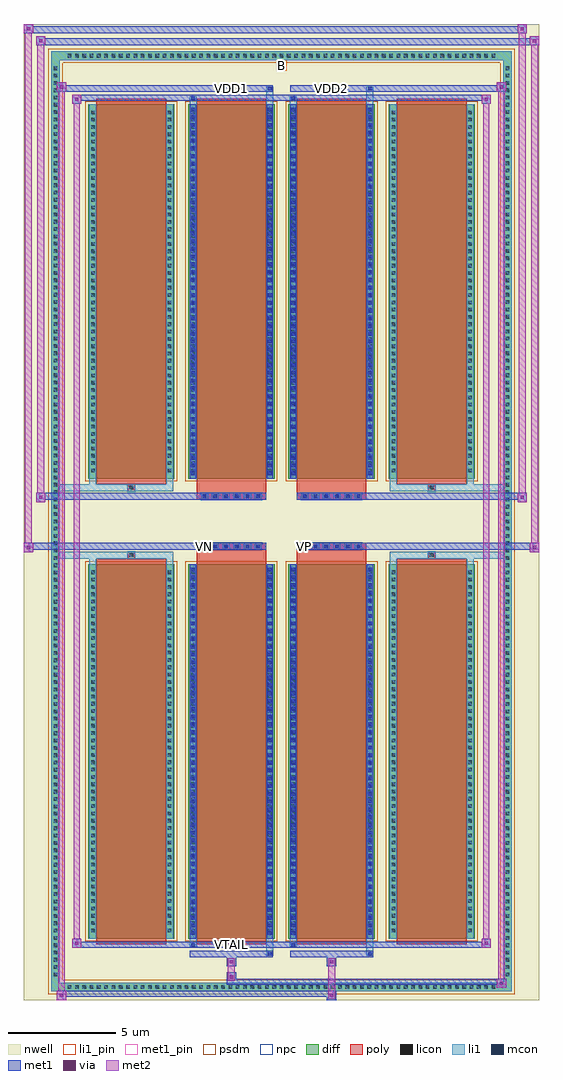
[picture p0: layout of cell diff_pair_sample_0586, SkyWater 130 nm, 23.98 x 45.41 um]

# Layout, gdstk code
import gdstk
lib = gdstk.Library(unit=1e-6, precision=5e-09)
def R(c, l, rs):  # rectangles x0, y0, x1, y1
    for r in rs: c.add(gdstk.rectangle(r[:2], r[2:], *l))
def A(c, l, x, y, w, h, nx, ny, dx, dy):  # array of equal rectangles
    R(c, l, [(x+i*dx, y+j*dy, x+i*dx+w, y+j*dy+h) for i in range(nx) for j in range(ny)])
def P(c, l, *ps):  # polygons
    for p in ps: c.add(gdstk.Polygon(p, *l))
nwell = (64, 20)
diff = (65, 20)
poly = (66, 20)
licon = (66, 44)
li1_pin = (67, 16)
li1 = (67, 20)
mcon = (67, 44)
met1_pin = (68, 16)
met1 = (68, 20)
via = (68, 44)
met2 = (69, 20)
psdm = (94, 20)
npc = (95, 20)

diff_pair_sample_0586 = lib.new_cell('diff_pair_sample_0586')
R(diff_pair_sample_0586, nwell, [(-11.99,-22.27,11.99,23.14), (-9.31,-20.46,-0.01,-0.8), (0.01,-20.46,9.31,-0.8), (-9.31,0.8,-0.01,20.46), (0.01,0.8,9.31,20.46)])
A(diff_pair_sample_0586, diff, -10.065, -21.87, 0.41, 0.41, 59, 2, 0.34, 43.33)
A(diff_pair_sample_0586, diff, -10.72, -21.285, 0.41, 0.41, 1, 125, 0, 0.34)
A(diff_pair_sample_0586, diff, 10.31, -21.285, 0.41, 0.41, 1, 125, 0, 0.34)
A(diff_pair_sample_0586, diff, -9, -19.415, 4.02, 17.43, 4, 2, 4.66, 21.4)
R(diff_pair_sample_0586, diff, [(-10.065,-21.87,10.065,-21.46), (-10.72,-21.285,-10.31,21.285), (10.31,-21.285,10.72,21.285), (-10.065,21.46,10.065,21.87)])
P(diff_pair_sample_0586, diff, [(10.72,21.87),(-10.72,21.87),(-10.72,-21.46),(-10.31,-21.46),(-10.31,21.46),(10.31,21.46),(10.31,-21.46),(-10.31,-21.46),(-10.72,-21.46),(-10.72,-21.87),(10.72,-21.87)])
A(diff_pair_sample_0586, poly, -8.61, -19.665, 3.24, 17.93, 4, 2, 4.66, 21.4)
A(diff_pair_sample_0586, poly, -3.745, -1.33, 0.33, 0.33, 6, 2, 0.5, 2.33)
A(diff_pair_sample_0586, poly, 0.915, -1.33, 0.33, 0.33, 6, 2, 0.5, 2.33)
R(diff_pair_sample_0586, poly, [(-7.155,-1.735,-6.825,-1.405), (-7.155,-1.735,-6.825,-1.405), (-3.95,-1.735,-0.71,-1.33), (0.71,-1.735,3.95,-1.33), (6.825,-1.735,7.155,-1.405), (6.825,-1.735,7.155,-1.405), (-3.95,-1.33,-0.71,-1), (0.71,-1.33,3.95,-1), (-3.95,1,-0.71,1.33), (0.71,1,3.95,1.33), (-3.95,1.33,-0.71,1.735), (0.71,1.33,3.95,1.735), (-7.155,1.405,-6.825,1.735), (-7.155,1.405,-6.825,1.735), (6.825,1.405,7.155,1.735), (6.825,1.405,7.155,1.735)])
A(diff_pair_sample_0586, licon, -9.945, -21.75, 0.17, 0.17, 59, 2, 0.34, 43.33)
A(diff_pair_sample_0586, licon, -10.6, -21.165, 0.17, 0.17, 1, 125, 0, 0.34)
A(diff_pair_sample_0586, licon, 10.43, -21.165, 0.17, 0.17, 1, 125, 0, 0.34)
A(diff_pair_sample_0586, licon, -8.86, -19.115, 0.17, 0.17, 1, 50, 0, 0.34)
A(diff_pair_sample_0586, licon, -5.29, -19.115, 0.17, 0.17, 1, 50, 0, 0.34)
A(diff_pair_sample_0586, licon, -4.2, -19.115, 0.17, 0.17, 1, 50, 0, 0.34)
A(diff_pair_sample_0586, licon, -0.63, -19.115, 0.17, 0.17, 1, 50, 0, 0.34)
A(diff_pair_sample_0586, licon, 0.46, -19.115, 0.17, 0.17, 1, 50, 0, 0.34)
A(diff_pair_sample_0586, licon, 4.03, -19.115, 0.17, 0.17, 1, 50, 0, 0.34)
A(diff_pair_sample_0586, licon, 5.12, -19.115, 0.17, 0.17, 1, 50, 0, 0.34)
A(diff_pair_sample_0586, licon, 8.69, -19.115, 0.17, 0.17, 1, 50, 0, 0.34)
A(diff_pair_sample_0586, licon, -3.665, -1.25, 0.17, 0.17, 6, 2, 0.5, 2.33)
A(diff_pair_sample_0586, licon, 0.995, -1.25, 0.17, 0.17, 6, 2, 0.5, 2.33)
A(diff_pair_sample_0586, licon, -8.86, 2.285, 0.17, 0.17, 1, 50, 0, 0.34)
A(diff_pair_sample_0586, licon, -5.29, 2.285, 0.17, 0.17, 1, 50, 0, 0.34)
A(diff_pair_sample_0586, licon, -4.2, 2.285, 0.17, 0.17, 1, 50, 0, 0.34)
A(diff_pair_sample_0586, licon, -0.63, 2.285, 0.17, 0.17, 1, 50, 0, 0.34)
A(diff_pair_sample_0586, licon, 0.46, 2.285, 0.17, 0.17, 1, 50, 0, 0.34)
A(diff_pair_sample_0586, licon, 4.03, 2.285, 0.17, 0.17, 1, 50, 0, 0.34)
A(diff_pair_sample_0586, licon, 5.12, 2.285, 0.17, 0.17, 1, 50, 0, 0.34)
A(diff_pair_sample_0586, licon, 8.69, 2.285, 0.17, 0.17, 1, 50, 0, 0.34)
R(diff_pair_sample_0586, licon, [(-7.075,-1.655,-6.905,-1.485), (6.905,-1.655,7.075,-1.485), (-7.075,1.485,-6.905,1.655), (6.905,1.485,7.075,1.655)])
R(diff_pair_sample_0586, li1_pin, [(-0.25,20.96,0.25,21.46)])
A(diff_pair_sample_0586, li1, -10.025, -21.83, 0.33, 0.33, 59, 2, 0.34, 43.33)
A(diff_pair_sample_0586, li1, -10.68, -21.245, 0.33, 0.33, 1, 125, 0, 0.34)
A(diff_pair_sample_0586, li1, 10.35, -21.245, 0.33, 0.33, 1, 125, 0, 0.34)
A(diff_pair_sample_0586, li1, -4.2, -19.245, 0.17, 0.17, 1, 48, 0, 0.36)
A(diff_pair_sample_0586, li1, -0.63, -19.245, 0.17, 0.17, 1, 48, 0, 0.36)
A(diff_pair_sample_0586, li1, 0.46, -19.245, 0.17, 0.17, 1, 48, 0, 0.36)
A(diff_pair_sample_0586, li1, 4.03, -19.245, 0.17, 0.17, 1, 48, 0, 0.36)
A(diff_pair_sample_0586, li1, -8.94, -19.195, 0.33, 0.33, 1, 50, 0, 0.34)
A(diff_pair_sample_0586, li1, -5.37, -19.195, 0.33, 0.33, 1, 50, 0, 0.34)
A(diff_pair_sample_0586, li1, -4.28, -19.195, 0.33, 0.33, 1, 50, 0, 0.34)
A(diff_pair_sample_0586, li1, -0.71, -19.195, 0.33, 0.33, 1, 50, 0, 0.34)
A(diff_pair_sample_0586, li1, 0.38, -19.195, 0.33, 0.33, 1, 50, 0, 0.34)
A(diff_pair_sample_0586, li1, 3.95, -19.195, 0.33, 0.33, 1, 50, 0, 0.34)
A(diff_pair_sample_0586, li1, 5.04, -19.195, 0.33, 0.33, 1, 50, 0, 0.34)
A(diff_pair_sample_0586, li1, 8.61, -19.195, 0.33, 0.33, 1, 50, 0, 0.34)
A(diff_pair_sample_0586, li1, -3.745, -1.33, 0.33, 0.33, 6, 2, 0.5, 2.33)
A(diff_pair_sample_0586, li1, 0.915, -1.33, 0.33, 0.33, 6, 2, 0.5, 2.33)
A(diff_pair_sample_0586, li1, -4.2, 2.155, 0.17, 0.17, 1, 48, 0, 0.36)
A(diff_pair_sample_0586, li1, -0.63, 2.155, 0.17, 0.17, 1, 48, 0, 0.36)
A(diff_pair_sample_0586, li1, 0.46, 2.155, 0.17, 0.17, 1, 48, 0, 0.36)
A(diff_pair_sample_0586, li1, 4.03, 2.155, 0.17, 0.17, 1, 48, 0, 0.36)
A(diff_pair_sample_0586, li1, -8.94, 2.205, 0.33, 0.33, 1, 50, 0, 0.34)
A(diff_pair_sample_0586, li1, -5.37, 2.205, 0.33, 0.33, 1, 50, 0, 0.34)
A(diff_pair_sample_0586, li1, -4.28, 2.205, 0.33, 0.33, 1, 50, 0, 0.34)
A(diff_pair_sample_0586, li1, -0.71, 2.205, 0.33, 0.33, 1, 50, 0, 0.34)
A(diff_pair_sample_0586, li1, 0.38, 2.205, 0.33, 0.33, 1, 50, 0, 0.34)
A(diff_pair_sample_0586, li1, 3.95, 2.205, 0.33, 0.33, 1, 50, 0, 0.34)
A(diff_pair_sample_0586, li1, 5.04, 2.205, 0.33, 0.33, 1, 50, 0, 0.34)
A(diff_pair_sample_0586, li1, 8.61, 2.205, 0.33, 0.33, 1, 50, 0, 0.34)
R(diff_pair_sample_0586, li1, [(-10.72,-21.87,-10.31,-21.46), (-10.72,-21.87,-10.31,-21.46), (-10.31,-21.87,10.31,-21.46), (10.31,-21.87,10.72,-21.46), (10.31,-21.87,10.72,-21.46), (-10.72,-21.46,-10.31,21.46), (10.31,-21.46,10.72,21.46), (-0.71,-20.22,-0.38,-19.415), (-0.63,-20.22,-0.46,-20.05), (3.95,-20.22,4.28,-19.415), (4.03,-20.22,4.2,-20.05), (-4.28,-19.79,-3.95,-19.415), (-4.2,-19.79,-4.03,-19.62), (0.38,-19.79,0.71,-19.415), (0.46,-19.79,0.63,-19.62), (-8.94,-19.415,-8.61,-1.985), (-5.37,-19.415,-5.04,-1.985), (-4.28,-19.415,-3.95,-1.985), (-0.71,-19.415,-0.38,-1.985), (0.38,-19.415,0.71,-1.985), (3.95,-19.415,4.28,-1.985), (5.04,-19.415,5.37,-1.985), (8.61,-19.415,8.94,-1.985), (-4.2,-19.245,-4.03,-2.155), (-0.63,-19.245,-0.46,-2.155), (0.46,-19.245,0.63,-2.155), (4.03,-19.245,4.2,-2.155), (-8.94,-1.985,-8.61,-1.405), (-5.37,-1.985,-5.04,-1.405), (5.04,-1.985,5.37,-1.405), (8.61,-1.985,8.94,-1.405), (-10.72,-1.735,-7.155,-1.405), (-8.94,-1.735,-7.155,-1.405), (-7.155,-1.735,-6.825,-1.405), (-6.825,-1.735,-5.04,-1.405), (5.04,-1.735,6.825,-1.405), (6.825,-1.735,7.155,-1.405), (6.825,-1.735,10.72,-1.405), (7.155,-1.735,8.94,-1.405), (-10.72,1.405,-7.155,1.735), (-8.94,1.405,-7.155,1.735), (-8.94,1.405,-8.61,1.985), (-7.155,1.405,-6.825,1.735), (-6.825,1.405,-5.04,1.735), (-5.37,1.405,-5.04,1.985), (5.04,1.405,6.825,1.735), (5.04,1.405,5.37,1.985), (6.825,1.405,7.155,1.735), (6.825,1.405,10.72,1.735), (7.155,1.405,8.94,1.735), (8.61,1.405,8.94,1.985), (-8.94,1.985,-8.61,19.415), (-5.37,1.985,-5.04,19.415), (-4.28,1.985,-3.95,19.415), (-0.71,1.985,-0.38,19.415), (0.38,1.985,0.71,19.415), (3.95,1.985,4.28,19.415), (5.04,1.985,5.37,19.415), (8.61,1.985,8.94,19.415), (-4.2,2.155,-4.03,19.245), (-0.63,2.155,-0.46,19.245), (0.46,2.155,0.63,19.245), (4.03,2.155,4.2,19.245), (-4.28,19.415,-3.95,19.79), (-0.71,19.415,-0.38,20.22), (0.38,19.415,0.71,19.79), (3.95,19.415,4.28,20.22), (-4.2,19.62,-4.03,19.79), (0.46,19.62,0.63,19.79), (-0.63,20.05,-0.46,20.22), (4.03,20.05,4.2,20.22), (-10.72,21.46,-10.31,21.87), (-10.72,21.46,-10.31,21.87), (-10.31,21.46,10.31,21.87), (10.31,21.46,10.72,21.87), (10.31,21.46,10.72,21.87)])
A(diff_pair_sample_0586, mcon, -4.2, -19.245, 0.17, 0.17, 1, 48, 0, 0.36)
A(diff_pair_sample_0586, mcon, -0.63, -19.245, 0.17, 0.17, 1, 48, 0, 0.36)
A(diff_pair_sample_0586, mcon, 0.46, -19.245, 0.17, 0.17, 1, 48, 0, 0.36)
A(diff_pair_sample_0586, mcon, 4.03, -19.245, 0.17, 0.17, 1, 48, 0, 0.36)
A(diff_pair_sample_0586, mcon, -3.665, -1.25, 0.17, 0.17, 6, 2, 0.5, 2.33)
A(diff_pair_sample_0586, mcon, 0.995, -1.25, 0.17, 0.17, 6, 2, 0.5, 2.33)
A(diff_pair_sample_0586, mcon, -4.2, 2.155, 0.17, 0.17, 1, 48, 0, 0.36)
A(diff_pair_sample_0586, mcon, -0.63, 2.155, 0.17, 0.17, 1, 48, 0, 0.36)
A(diff_pair_sample_0586, mcon, 0.46, 2.155, 0.17, 0.17, 1, 48, 0, 0.36)
A(diff_pair_sample_0586, mcon, 4.03, 2.155, 0.17, 0.17, 1, 48, 0, 0.36)
R(diff_pair_sample_0586, mcon, [(-0.63,-20.22,-0.46,-20.05), (4.03,-20.22,4.2,-20.05), (-4.2,-19.79,-4.03,-19.62), (0.46,-19.79,0.63,-19.62), (-4.2,19.62,-4.03,19.79), (0.46,19.62,0.63,19.79), (-0.63,20.05,-0.46,20.22), (4.03,20.05,4.2,20.22)])
R(diff_pair_sample_0586, met1_pin, [(-2.465,-19.83,-2.195,-19.56), (-3.715,-1.29,-3.445,-1.02), (0.945,-1.29,1.215,-1.02), (-2.465,20.01,-2.195,20.28), (2.195,20.01,2.465,20.28)])
A(diff_pair_sample_0586, met1, -4.26, -19.305, 0.29, 0.29, 1, 48, 0, 0.36)
A(diff_pair_sample_0586, met1, -0.69, -19.305, 0.29, 0.29, 1, 48, 0, 0.36)
A(diff_pair_sample_0586, met1, 0.4, -19.305, 0.29, 0.29, 1, 48, 0, 0.36)
A(diff_pair_sample_0586, met1, 3.97, -19.305, 0.29, 0.29, 1, 48, 0, 0.36)
A(diff_pair_sample_0586, met1, -3.725, -1.31, 0.29, 0.29, 6, 2, 0.5, 2.33)
A(diff_pair_sample_0586, met1, 0.935, -1.31, 0.29, 0.29, 6, 2, 0.5, 2.33)
A(diff_pair_sample_0586, met1, -4.26, 2.095, 0.29, 0.29, 1, 48, 0, 0.36)
A(diff_pair_sample_0586, met1, -0.69, 2.095, 0.29, 0.29, 1, 48, 0, 0.36)
A(diff_pair_sample_0586, met1, 0.4, 2.095, 0.29, 0.29, 1, 48, 0, 0.36)
A(diff_pair_sample_0586, met1, 3.97, 2.095, 0.29, 0.29, 1, 48, 0, 0.36)
R(diff_pair_sample_0586, met1, [(-10.45,-22.27,-10.02,-21.84), (2.115,-22.27,2.545,-21.84), (-10.45,-22.13,2.545,-21.84), (10.02,-21.7,10.45,-21.27), (-2.545,-21.56,10.45,-21.27), (-2.545,-21.42,-2.115,-20.99), (-2.545,-20.71,-2.115,-20.28), (2.115,-20.71,2.545,-20.28), (-4.26,-20.28,-0.4,-19.99), (-0.69,-20.28,-0.4,-19.99), (0.4,-20.28,4.26,-19.99), (3.97,-20.28,4.26,-19.99), (-9.74,-19.85,-9.31,-19.42), (-9.74,-19.85,-4.26,-19.56), (-4.26,-19.85,-3.97,-19.56), (-4.26,-19.85,-0.4,-19.56), (-0.4,-19.85,0.4,-19.56), (0.4,-19.85,0.69,-19.56), (0.4,-19.85,4.26,-19.56), (4.26,-19.85,9.74,-19.56), (9.31,-19.85,9.74,-19.42), (-4.26,-19.415,-3.97,-1.985), (-0.69,-19.415,-0.4,-1.985), (0.4,-19.415,0.69,-1.985), (3.97,-19.415,4.26,-1.985), (-11.99,-1.43,-11.56,-1), (11.56,-1.43,11.99,-1), (-11.99,-1.33,-0.71,-1), (-3.95,-1.33,-0.71,-1), (0.71,-1.33,3.95,-1), (0.71,-1.33,11.99,-1), (-11.42,0.9,-10.99,1.33), (10.99,0.9,11.42,1.33), (-11.42,1,-3.95,1.33), (-3.95,1,-0.71,1.33), (0.71,1,3.95,1.33), (3.95,1,11.42,1.33), (-4.26,1.985,-3.97,19.415), (-0.69,1.985,-0.4,19.415), (0.4,1.985,0.69,19.415), (3.97,1.985,4.26,19.415), (-9.74,19.42,-9.31,19.85), (9.31,19.42,9.74,19.85), (-9.74,19.56,-4.26,19.85), (-4.26,19.56,-3.97,19.85), (-4.26,19.56,-0.4,19.85), (-0.4,19.56,0.4,19.85), (0.4,19.56,0.69,19.85), (0.4,19.56,4.26,19.85), (4.26,19.56,9.74,19.85), (-10.45,19.99,-10.02,20.42), (-10.45,19.99,-4.26,20.28), (-4.26,19.99,-0.4,20.28), (-0.69,19.99,-0.4,20.28), (0.4,19.99,4.26,20.28), (3.97,19.99,4.26,20.28), (4.26,19.99,10.45,20.28), (10.02,19.99,10.45,20.42), (-11.42,22.14,-10.99,22.57), (-11.42,22.14,-9.31,22.47), (-9.31,22.14,9.31,22.47), (9.31,22.14,11.99,22.47), (11.56,22.14,11.99,22.57), (-11.99,22.71,-11.56,23.14), (-11.99,22.71,-9.31,23.04), (-9.31,22.71,9.31,23.04), (9.31,22.71,11.42,23.04), (10.99,22.71,11.42,23.14)])
R(diff_pair_sample_0586, via, [(-10.31,-22.13,-10.16,-21.98), (2.255,-22.13,2.405,-21.98), (10.16,-21.56,10.31,-21.41), (-2.405,-21.28,-2.255,-21.13), (-2.405,-20.57,-2.255,-20.42), (2.255,-20.57,2.405,-20.42), (-9.6,-19.71,-9.45,-19.56), (9.45,-19.71,9.6,-19.56), (-11.85,-1.29,-11.7,-1.14), (11.7,-1.29,11.85,-1.14), (-11.28,1.04,-11.13,1.19), (11.13,1.04,11.28,1.19), (-9.6,19.56,-9.45,19.71), (9.45,19.56,9.6,19.71), (-10.31,20.13,-10.16,20.28), (10.16,20.13,10.31,20.28), (-11.28,22.28,-11.13,22.43), (11.7,22.28,11.85,22.43), (-11.85,22.85,-11.7,23), (11.13,22.85,11.28,23)])
R(diff_pair_sample_0586, met2, [(-10.45,-22.27,-10.02,-21.84), (-10.38,-22.27,-10.09,20.42), (-10.09,-22.27,-10.02,-21.84), (-10.4,-22.22,-10.07,-21.89), (2.165,-22.22,2.495,-21.89), (2.165,-21.89,2.495,-20.66), (10.02,-21.7,10.45,-21.27), (10.09,-21.7,10.38,20.42), (10.38,-21.7,10.45,-21.27), (10.07,-21.65,10.4,-21.32), (-2.495,-21.37,-2.165,-21.04), (-2.495,-21.04,-2.165,-20.66), (-2.495,-20.66,-2.165,-20.33), (2.165,-20.66,2.495,-20.33), (-9.74,-19.85,-9.31,-19.42), (-9.67,-19.85,-9.38,19.85), (-9.38,-19.85,-9.31,-19.42), (9.31,-19.85,9.74,-19.42), (9.38,-19.85,9.67,19.85), (9.67,-19.85,9.74,-19.42), (-9.69,-19.8,-9.36,-19.47), (9.36,-19.8,9.69,-19.47), (-11.99,-1.43,-11.56,-1), (-11.94,-1.43,-11.61,23.14), (-11.61,-1.43,-11.56,-1), (11.56,-1.43,11.99,-1), (11.61,-1.43,11.94,22.57), (11.94,-1.43,11.99,-1), (-11.94,-1.38,-11.61,-1.05), (11.61,-1.38,11.94,-1.05), (-11.42,0.9,-10.99,1.33), (-11.37,0.9,-11.04,22.57), (-11.04,0.9,-10.99,1.33), (10.99,0.9,11.42,1.33), (11.04,0.9,11.37,23.14), (11.37,0.9,11.42,1.33), (-11.37,0.95,-11.04,1.28), (11.04,0.95,11.37,1.28), (-9.74,19.42,-9.31,19.85), (-9.38,19.42,-9.31,19.85), (9.31,19.42,9.74,19.85), (9.67,19.42,9.74,19.85), (-9.69,19.47,-9.36,19.8), (9.36,19.47,9.69,19.8), (-10.45,19.99,-10.02,20.42), (-10.09,19.99,-10.02,20.42), (10.02,19.99,10.45,20.42), (10.38,19.99,10.45,20.42), (-10.4,20.04,-10.07,20.37), (10.07,20.04,10.4,20.37), (-11.42,22.14,-10.99,22.57), (-11.04,22.14,-10.99,22.57), (11.56,22.14,11.99,22.57), (11.94,22.14,11.99,22.57), (-11.37,22.19,-11.04,22.52), (11.61,22.19,11.94,22.52), (-11.99,22.71,-11.56,23.14), (-11.61,22.71,-11.56,23.14), (10.99,22.71,11.42,23.14), (11.37,22.71,11.42,23.14), (-11.94,22.76,-11.61,23.09), (11.04,22.76,11.37,23.09)])
A(diff_pair_sample_0586, psdm, -9.13, -19.545, 4.28, 17.69, 4, 2, 4.66, 21.4)
P(diff_pair_sample_0586, psdm, [(10.85,22),(-10.85,22),(-10.85,-21.33),(-10.18,-21.33),(-10.18,21.33),(10.18,21.33),(10.18,-21.33),(-10.18,-21.33),(-10.85,-21.33),(-10.85,-22),(10.85,-22)])
A(diff_pair_sample_0586, npc, -3.765, -1.35, 0.37, 0.37, 6, 2, 0.5, 2.33)
A(diff_pair_sample_0586, npc, 0.895, -1.35, 0.37, 0.37, 6, 2, 0.5, 2.33)
R(diff_pair_sample_0586, npc, [(-7.175,-1.755,-6.805,-1.385), (6.805,-1.755,7.175,-1.385), (-3.765,-1.35,-2.895,-0.98), (-3.765,-1.35,-2.895,-0.98), (-3.265,-1.35,-2.395,-0.98), (-3.265,-1.35,-2.395,-0.98), (-2.765,-1.35,-1.895,-0.98), (-2.765,-1.35,-1.895,-0.98), (-2.265,-1.35,-1.395,-0.98), (-2.265,-1.35,-1.395,-0.98), (-1.765,-1.35,-0.895,-0.98), (-1.765,-1.35,-0.895,-0.98), (0.895,-1.35,1.765,-0.98), (0.895,-1.35,1.765,-0.98), (1.395,-1.35,2.265,-0.98), (1.395,-1.35,2.265,-0.98), (1.895,-1.35,2.765,-0.98), (1.895,-1.35,2.765,-0.98), (2.395,-1.35,3.265,-0.98), (2.395,-1.35,3.265,-0.98), (2.895,-1.35,3.765,-0.98), (2.895,-1.35,3.765,-0.98), (-3.765,0.98,-2.895,1.35), (-3.765,0.98,-2.895,1.35), (-3.265,0.98,-2.395,1.35), (-3.265,0.98,-2.395,1.35), (-2.765,0.98,-1.895,1.35), (-2.765,0.98,-1.895,1.35), (-2.265,0.98,-1.395,1.35), (-2.265,0.98,-1.395,1.35), (-1.765,0.98,-0.895,1.35), (-1.765,0.98,-0.895,1.35), (0.895,0.98,1.765,1.35), (0.895,0.98,1.765,1.35), (1.395,0.98,2.265,1.35), (1.395,0.98,2.265,1.35), (1.895,0.98,2.765,1.35), (1.895,0.98,2.765,1.35), (2.395,0.98,3.265,1.35), (2.395,0.98,3.265,1.35), (2.895,0.98,3.765,1.35), (2.895,0.98,3.765,1.35), (-7.175,1.385,-6.805,1.755), (6.805,1.385,7.175,1.755)])
diff_pair_sample_0586.add(gdstk.Label('VTAIL', (-2.33,-19.695), layer=68, texttype=5))
diff_pair_sample_0586.add(gdstk.Label('VN', (-3.58,-1.155), layer=68, texttype=5))
diff_pair_sample_0586.add(gdstk.Label('VP', (1.08,-1.155), layer=68, texttype=5))
diff_pair_sample_0586.add(gdstk.Label('B', (0,21.21), layer=67, texttype=5))
diff_pair_sample_0586.add(gdstk.Label('VDD2', (2.33,20.145), layer=68, texttype=5))
diff_pair_sample_0586.add(gdstk.Label('VDD1', (-2.33,20.145), layer=68, texttype=5))

lib.write_gds('diff_pair_sample_0586.gds')
